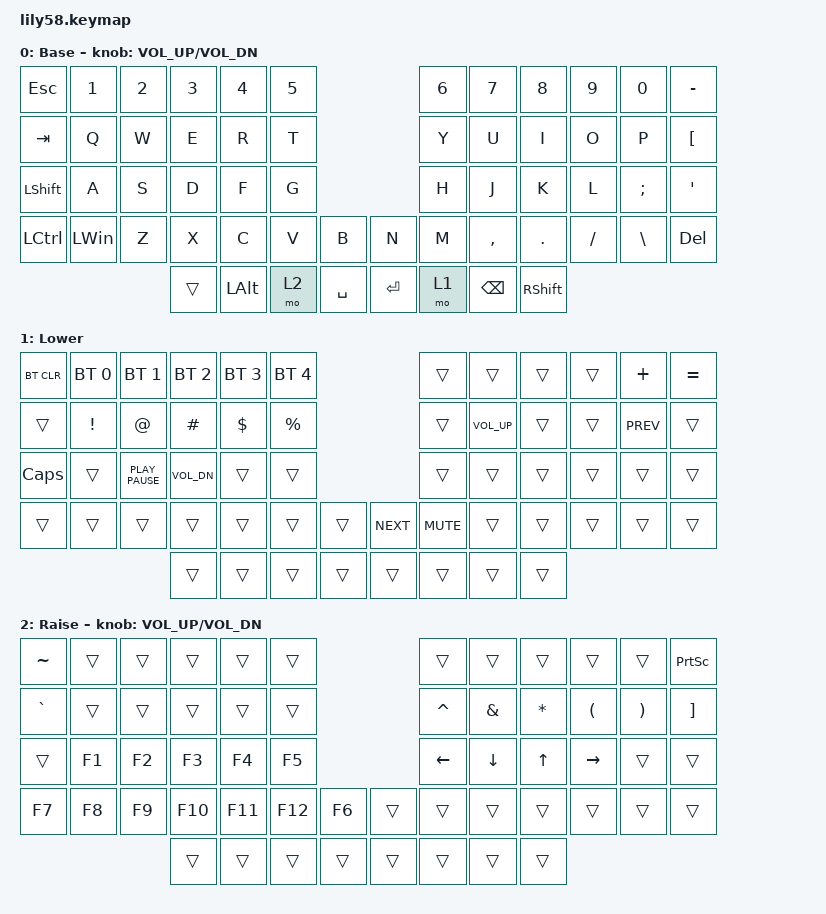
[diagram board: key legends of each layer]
/*
 * Copyright (c) 2020 The ZMK Contributors
 *
 * SPDX-License-Identifier: MIT
 */

#include <behaviors.dtsi>
#include <dt-bindings/zmk/bt.h>
#include <dt-bindings/zmk/keys.h>

/ {
    keymap {
        compatible = "zmk,keymap";

        default_layer {
            // ------------------------------------------------------------------------------------------------------------
            // |  ESC  |  1  |  2  |  3   |  4   |  5   |                   |  6   |  7    |  8    |  9   |   0   |   `   |
            // |  TAB  |  Q  |  W  |  E   |  R   |  T   |                   |  Y   |  U    |  I    |  O   |   P   |   -   |
            // |  CTRL |  A  |  S  |  D   |  F   |  G   |                   |  H   |  J    |  K    |  L   |   ;   |   '   |
            // | SHIFT |  Z  |  X  |  C   |  V   |  B   |   "["  |  |  "]"  |  N   |  M    |  ,    |  .   |   /   | SHIFT |
            //                     | ALT  | GUI  | LOWER|  SPACE |  | ENTER | RAISE| BSPC  | GUI   |

            display-name = "Base";
            bindings = <
&kp ESC           &kp N1        &kp N2  &kp N3  &kp N4        &kp N5                        &kp N6  &kp N7     &kp N8           &kp N9     &kp N0         &kp MINUS
&kp TAB           &kp Q         &kp W   &kp E   &kp R         &kp T                         &kp Y   &kp U      &kp I            &kp O      &kp P          &kp LEFT_BRACKET
&kp LEFT_SHIFT    &kp A         &kp S   &kp D   &kp F         &kp G                         &kp H   &kp J      &kp K            &kp L      &kp SEMI       &kp SQT
&kp LEFT_CONTROL  &kp LEFT_WIN  &kp Z   &kp X   &kp C         &kp V   &kp B        &kp N    &kp M   &kp COMMA  &kp PERIOD       &kp SLASH  &kp BACKSLASH  &kp DELETE
                                        &trans  &kp LEFT_ALT  &mo 2   &kp SPACE    &kp RET  &mo 1   &kp BSPC   &kp RIGHT_SHIFT
            >;

            sensor-bindings = <&inc_dec_kp C_VOL_UP C_VOL_DN>;
        };

        lower_layer {
            // ------------------------------------------------------------------------------------------------------------
            // | BTCLR | BT1 | BT2 |  BT3 |  BT4 |  BT5 |                   |      |       |       |      |       |       |
            // |  F1   |  F2 |  F3 |  F4  |  F5  |  F6  |                   |  F7  |  F8   |  F9   |  F10 |  F11  |  F12  |
            // |   `   |  !  |  @  |  #   |  $   |  %   |                   |  ^   |  &    |  *    |  (   |   )   |   ~   |
            // |       |     |     |      |      |      |        |  |       |      |  _    |  +    |  {   |   }   |  "|"  |
            //                     |      |      |      |        |  |       |      |       |       |

            display-name = "Lower";
            bindings = <
&bt BT_CLR    &bt BT_SEL 0     &bt BT_SEL 1      &bt BT_SEL 2  &bt BT_SEL 3  &bt BT_SEL 4                        &trans      &trans        &trans  &trans  &kp PLUS    &kp EQUAL
&trans        &kp EXCLAMATION  &kp AT_SIGN       &kp HASH      &kp DOLLAR    &kp PERCENT                         &trans      &kp C_VOL_UP  &trans  &trans  &kp K_PREV  &trans
&kp CAPSLOCK  &trans           &kp K_PLAY_PAUSE  &kp C_VOL_DN  &trans        &trans                              &trans      &trans        &trans  &trans  &trans      &trans
&trans        &trans           &trans            &trans        &trans        &trans        &trans    &kp K_NEXT  &kp K_MUTE  &trans        &trans  &trans  &trans      &trans
                                                 &trans        &trans        &trans        &trans    &trans      &trans      &trans        &trans
            >;
        };

        raise_layer {
            // ------------------------------------------------------------------------------------------------------------
            // |       |     |     |      |      |      |                   |      |       |       |      |       |       |
            // |   `   |  1  |  2  |  3   |  4   |  5   |                   |  6   |   7   |   8   |  9   |   0   |       |
            // |   F1  |  F2 |  F3 |  F4  |  F5  |  F6  |                   |      |   <-  |   v   |  ^   |  ->   |       |
            // |   F7  |  F8 |  F9 |  F10 |  F11 |  F12 |        |  |       |  +   |   -   |   =   |  [   |   ]   |   \   |
            //                     |      |      |      |        |  |       |      |       |       |

            display-name = "Raise";
            bindings = <
&kp TILDE  &trans  &trans  &trans   &trans   &trans                     &trans     &trans         &trans        &trans                &trans                 &kp PRINTSCREEN
&kp GRAVE  &trans  &trans  &trans   &trans   &trans                     &kp CARET  &kp AMPERSAND  &kp ASTERISK  &kp LEFT_PARENTHESIS  &kp RIGHT_PARENTHESIS  &kp RIGHT_BRACKET
&trans     &kp F1  &kp F2  &kp F3   &kp F4   &kp F5                     &kp LEFT   &kp DOWN       &kp UP        &kp RIGHT             &trans                 &trans
&kp F7     &kp F8  &kp F9  &kp F10  &kp F11  &kp F12  &kp F6    &trans  &trans     &trans         &trans        &trans                &trans                 &trans
                           &trans   &trans   &trans   &trans    &trans  &trans     &trans         &trans
            >;

            sensor-bindings = <&inc_dec_kp C_VOL_UP C_VOL_DN>;
        };
    };
};
